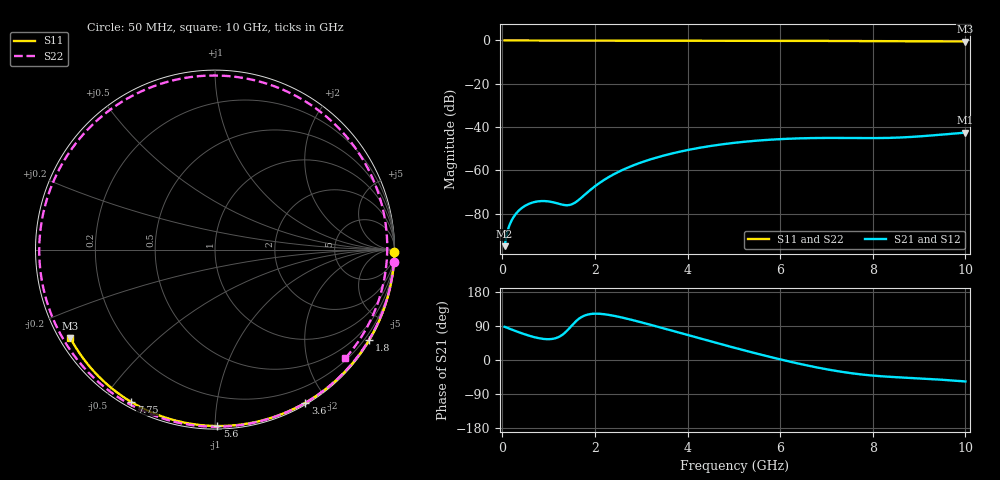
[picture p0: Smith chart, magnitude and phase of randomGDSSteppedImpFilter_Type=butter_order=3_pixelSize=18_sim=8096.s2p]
! freq	dB(S11)	phase(S11)	dB(S12)	phase(S12)
!  dB(S21)	phase(S21)	dB(S22)	phase(S22)
!S-par simulation data
#  GHz  S  DB  R 50
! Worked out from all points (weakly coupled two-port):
!   200 points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, 50 MHz to 10 GHz, reference 50 ohm
!   highest |S21| = -42.57 dB at 10 GHz (marker M1); lowest = -95.0 dB at 50 MHz (marker M2)
!   lowest |S11| = -0.5 dB at 10 GHz (marker M3), VSWR 35.26, Z = 1.53 - j14.1 ohm
!   |S11| at or under -10 dB: nowhere
!   |S22| runs from -0.5 to 0.0 dB; largest |S21 - S12| = 0
!   S11 on the Smith chart (normalised r, x): 50 MHz: open; 1.8 GHz: 0.03, -3.67; 3.6 GHz: 0.02, -1.75; 5.6 GHz: 0.02, -1.01; 7.75 GHz: 0.02, -0.59; 10 GHz: 0.03, -0.28
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0.05  -0.00 -0.9  -95.03 87.6  -95.03 87.6  -0.00 -4.1
0.3  -0.01 -5.2  -79.91 75.8  -79.91 75.8  -0.04 -24.0
0.4  -0.01 -6.9  -77.76 71.4  -77.76 71.4  -0.05 -31.8
0.6  -0.01 -10.3  -75.26 63.4  -75.26 63.4  -0.07 -46.9
0.85  -0.02 -14.5  -74.20 56.3  -74.20 56.3  -0.09 -64.9
1.15  -0.02 -19.6  -75.03 57.5  -75.03 57.5  -0.11 -84.7
1.45  -0.03 -24.7  -76.02 84.2  -76.02 84.2  -0.12 -102.7
1.75  -0.04 -29.7  -71.84 115.9  -71.84 115.9  -0.14 -118.9
1.8  -0.04 -30.5  -70.91 118.3  -70.91 118.3  -0.14 -121.5
2.15  -0.05 -36.3  -65.10 121.5  -65.10 121.5  -0.15 -138.3
2.55  -0.06 -42.8  -60.28 113.0  -60.28 113.0  -0.17 -155.6
3.4  -0.08 -56.3  -53.68 86.3  -53.68 86.3  -0.19 171.9
3.6  -0.08 -59.4  -52.55 79.6  -52.55 79.6  -0.19 164.9
4.3  -0.10 -70.2  -49.44 55.9  -49.44 55.9  -0.22 141.1
5.05  -0.13 -81.3  -47.20 31.1  -47.20 31.1  -0.24 116.4
5.6  -0.15 -89.2  -46.12 13.7  -46.12 13.7  -0.26 98.4
6.15  -0.17 -97.0  -45.43 -2.6  -45.43 -2.6  -0.27 80.3
6.7  -0.20 -104.6  -45.09 -17.3  -45.09 -17.3  -0.29 62.2
7.75  -0.27 -118.7  -45.10 -38.1  -45.10 -38.1  -0.32 28.0
8.35  -0.32 -126.7  -45.01 -44.3  -45.01 -44.3  -0.34 8.9
9.15  -0.40 -137.2  -44.10 -49.5  -44.10 -49.5  -0.40 -15.5
10  -0.49 -148.5  -42.57 -56.7  -42.57 -56.7  -0.49 -39.8
